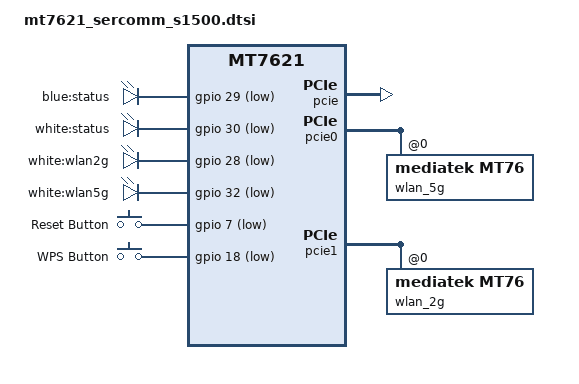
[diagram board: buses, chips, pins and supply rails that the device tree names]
// SPDX-License-Identifier: GPL-2.0-or-later OR MIT

#include "mt7621.dtsi"

#include <dt-bindings/gpio/gpio.h>
#include <dt-bindings/input/input.h>

/ { // SerComm S1500 Clone's
//	model = "Beeline SmartBox PRO";
//	model = "WiFire S1500.NBN";

	aliases {
		led-boot = &led_status_white;
		led-failsafe = &led_status_white;
		led-running = &led_status_blue;
		led-upgrade = &led_status_white;
	};

	leds {
		compatible = "gpio-leds";

		led_status_blue: status_blue { // LED WPS?
			label = "blue:status";
			gpios = <&gpio 29 GPIO_ACTIVE_LOW>;
		};

		led_status_white: status_white { // LED STATUS?
			label = "white:status";
			gpios = <&gpio 30 GPIO_ACTIVE_LOW>;
		};

		wlan2g {
			label = "white:wlan2g";
			gpios = <&gpio 28 GPIO_ACTIVE_LOW>;
			linux,default-trigger = "phy1tpt";
		};

		wlan5g {
			label = "white:wlan5g";
			gpios = <&gpio 32 GPIO_ACTIVE_LOW>;
			linux,default-trigger = "phy0tpt";
		};
	};

	keys {
		compatible = "gpio-keys";

		reset {
			label = "Reset Button";
			gpios = <&gpio 7 GPIO_ACTIVE_LOW>;
			linux,code = <KEY_RESTART>;
		};

		wps {
			label = "WPS Button";
			gpios = <&gpio 18 GPIO_ACTIVE_LOW>;
			linux,code = <KEY_WPS_BUTTON>;
		};
	};
};

&pcie {
	status = "okay";
};

&pcie0 { // mt7612en
	wlan_5g: wifi@0,0 {
		compatible = "mediatek,mt76";
		reg = <0x0000 0 0 0 0>;
		ieee80211-freq-limit = <5000000 6000000>;
		mediatek,mtd-eeprom = <&factory 0x8000>;
	};
};

&pcie1 { // mt7602en
	wlan_2g: wifi@0,0 {
		compatible = "mediatek,mt76";
		reg = <0x0000 0 0 0 0>;
		ieee80211-freq-limit = <2400000 2500000>;
		mediatek,mtd-eeprom = <&factory 0x0>;
	};
};

&state_default {
	gpio {
		groups = "wdt", "uart3", "rgmii2", "jtag", "uart2", "i2c";
		function = "gpio";
	};
};

&switch0 {
	ports {
		port@0 {
			status = "okay";
			label = "lan4";
		};

		port@1 {
			status = "okay";
			label = "lan3";
		};

		port@2 {
			status = "okay";
			label = "lan2";
		};

		port@3 {
			status = "okay";
			label = "lan1";
		};

		wan: port@4 {
			status = "okay";
			label = "wan";
		};
	};
};

